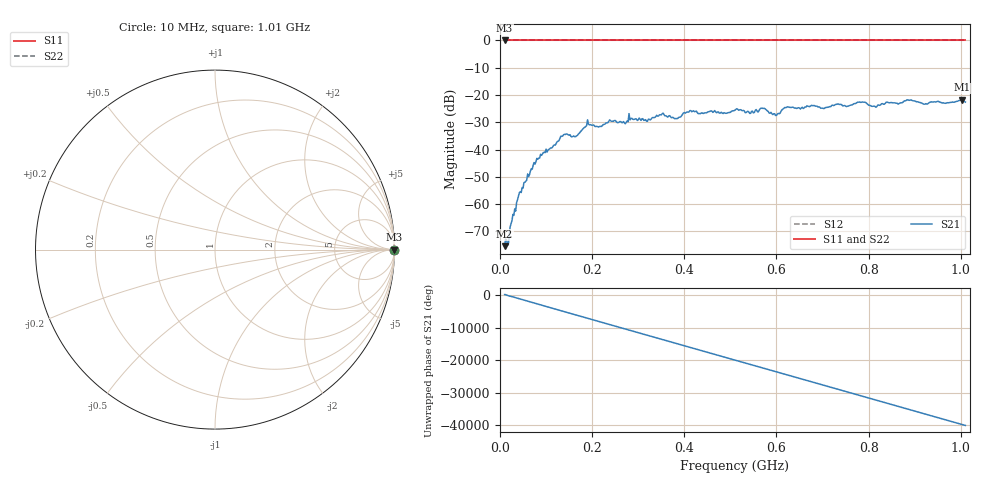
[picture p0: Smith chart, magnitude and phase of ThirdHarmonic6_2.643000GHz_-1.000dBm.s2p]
! 8/17/2025 5:59:10 AM
! C:\ANRITSUVNA\TEMP\TEMP.S2P
! CHANNEL.1
! TR.MEASUREMENT
! RAW.DATA
! RF.CORRECTION.OFF
! AVERAGING.OFF
! IF.BANDWIDTH: 5KHZ
! SWEEPTYPE:  FREQ.SWEEP(Linear)
! Reference Plane Port Info
! PORT:  PORT1  PORT2
! DISTANCE:  0  m  0  m
! TIME:  0  s  0  s
! PHASE.OFFSET:  0  deg.  0  deg.
! LOSS:  0  dB  0  dB
! REF.LOSS:  0  dB  0  dB
! REF.FREQ:  0  Hz  0  Hz
! Power Info
! POWER:  -20  dBm  -20  dBm
! EFF.POWER:  -20  dBm  -20  dBm
! SOURCE.ATTEN:  0  dB  0  dB
! TEST.ATTEN:  0  dB  0  dB
# GHZ S RI R 50.0
! FREQ.GHZ  S11RE  S11IM  S21RE  S21IM  S12RE  S12IM  S22RE  S22IM
!; PortSelection: Port_12
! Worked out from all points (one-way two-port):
!   501 points, 10 MHz to 1.01 GHz, reference 50 ohm
!   highest |S21| = -21.70 dB at 1.002 GHz (marker M1); lowest = -75.4 dB at 10 MHz (marker M2)
!   lowest |S11| = 0.0 dB at 10 MHz (marker M3)
!   |S11| at or under -10 dB: nowhere
!   |S22| runs from 0.0 to 0.0 dB; largest |S21 - S12| = 1.1
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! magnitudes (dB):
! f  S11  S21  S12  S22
! 10 MHz  0.0  -75.4  0.0  0.0
! 18 MHz  0.0  -75.0  0.0  0.0
! 40 MHz  0.0  -57.1  0.0  0.0
! 76 MHz  0.0  -45.3  0.0  0.0
! 136 MHz  0.0  -35.1  0.0  0.0
! 164 MHz  0.0  -35.3  0.0  0.0
! 178 MHz  0.0  -32.8  0.0  0.0
! 192 MHz  0.0  -30.7  0.0  0.0
! 216 MHz  0.0  -31.5  0.0  0.0
! 240 MHz  0.0  -29.5  0.0  0.0
! 316 MHz  0.0  -29.0  0.0  0.0
! 344 MHz  0.0  -27.7  0.0  0.0
! 382 MHz  0.0  -28.6  0.0  0.0
! 416 MHz  0.0  -26.1  0.0  0.0
! 510 MHz  0.0  -25.6  0.0  0.0
! 570 MHz  0.0  -24.9  0.0  0.0
! 596 MHz  0.0  -26.9  0.0  0.0
! 622 MHz  0.0  -24.5  0.0  0.0
! 678 MHz  0.0  -23.9  0.0  0.0
! 844 MHz  0.0  -22.8  0.0  0.0
! 1.002 GHz  0.0  -21.7  0.0  0.0
! 1.01 GHz  0.0  -22.6  0.0  0.0
